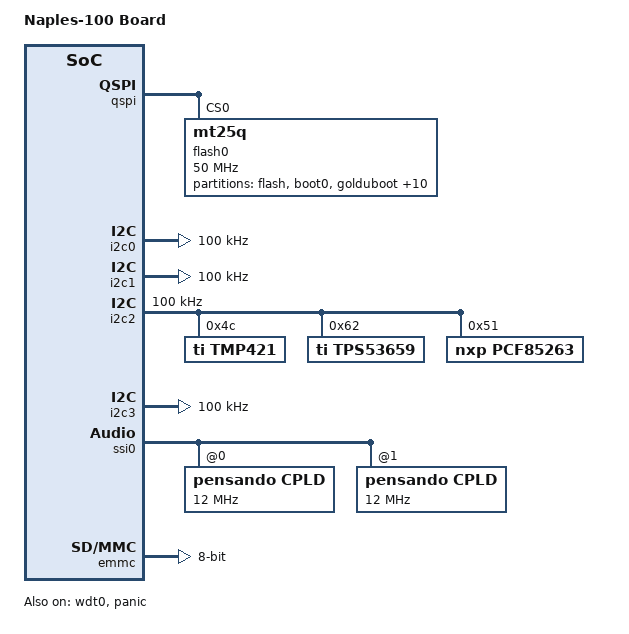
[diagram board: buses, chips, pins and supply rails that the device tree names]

/dts-v1/;

#include "capri.dtsi"

/ {
	model = "Naples-100 Board";

	aliases {
		serial0 = &uart0;
	};

	chosen {
		stdout-path = "serial0:19200n8";
	};
};

&apb_clk {
	clock-frequency = <416000000>;
};

&core_clk {
	clock-frequency = <832000000>;
};

&emmc_clk {
	clock-frequency = <200000000>;
};

&flash_clk {
	clock-frequency = <400000000>;
};

&i2c_clk {
	clock-frequency = <416000000>;
};

&ref_clk {
	clock-frequency = <156250000>;
};

&qspi {
	status = "okay";
	flash0: mt25q@0 {
		compatile = "jdec,spi-nor";
		reg = <0>;
		spi-max-frequency = <50000000>;
		spi-rx-bus-width = <2>;
		m25p,fast-read;
		cdns,read-delay = <0>;
		cdns,tshsl-ns = <0>;
		cdns,tsd2d-ns = <0>;
		cdns,tchsh-ns = <0>;
		cdns,tslch-ns = <0>;
		partitions {
			compatible = "fixed-partitions";
			#address-cells = <1>;
			#size-cells = <1>;
			partition@0 {
				label = "flash";
				reg = <0x00010000 0x0fff0000>;
			};
			partition@00100000 {
				label = "boot0";
				reg = <0x00100000 0x00080000>;
			};
			partition@00180000 {
				label = "golduboot";
				reg = <0x00180000 0x00200000>;
			};
			partition@00400000 {
				label = "goldfw";
				reg = <0x00400000 0x03c00000>;
			};
			partition@04010000 {
				label = "fwmap";
				reg = <0x04010000 0x00020000>;
			};
			partition@04030000 {
				label = "fwsel";
				reg = <0x04030000 0x00020000>;
			};
			partition@04090000 {
				label = "bootlog";
				reg = <0x04090000 0x00020000>;
			};
			partition@040b0000 {
				label = "panicbuf";
				reg = <0x040b0000 0x00020000>;
			};
			partition@04200000 {
				label = "uboota";
				reg = <0x04200000 0x00400000>;
			};
			partition@04600000 {
				label = "ubootb";
				reg = <0x04600000 0x00400000>;
			};
			partition@04a00000 {
				label = "mainfwa";
				reg = <0x04a00000 0x01000000>;
			};
			partition@05a00000 {
				label = "mainfwb";
				reg = <0x05a00000 0x01000000>;
			};
			partition@08000000 {
				label = "diagfw";
				reg = <0x08000000 0x07fe0000>;
			};
		};
	};
};

&gpio0 {
	status = "ok";
};

&i2c0 {
	clock-frequency = <100000>;
	status = "okay";
};

&i2c1 {
	clock-frequency = <100000>;
	status = "okay";
};

&i2c2 {
	clock-frequency = <100000>;
	status = "okay";
	tmp421@1f {
		compatible = "ti,tmp421";
		reg = <0x4c>;
	};
	tps53659 {
		compatible = "ti,tps53659";
		reg = <0x62>;
	};
	pcf85263@51 {
		compatible = "nxp,pcf85263";
		reg = <0x51>;
	};
};

&i2c3 {
	clock-frequency = <100000>;
	status = "okay";
};

&ssi0 {
	status = "okay";
	cpld@0 {
		compatible = "pensando,cpld";
		#address-cells = <1>;
		#size-cells = <1>;
		spi-max-frequency = <12000000>;
		reg = <0>;
		tmode = <3>; //EPROM mode
	};
	cpld@1 {
		compatible = "pensando,cpld";
		#address-cells = <1>;
		#size-cells = <1>;
		spi-max-frequency = <12000000>;
		reg = <1>;
		tmode = <3>; //EPROM mode
	};
};

&wdt0 {
	status = "okay";
};

&emmc {
	max-frequency = <200000000>;
	bus-width = <8>;
	status = "okay";
};

&panic {
	status = "okay";
	reg = <0x0 0x740b0000 0x0 0x00020000>;
};
